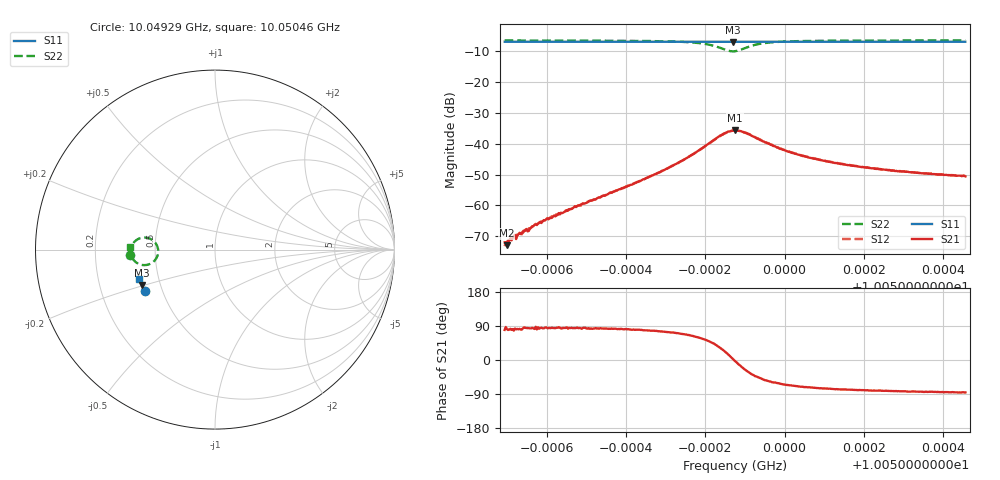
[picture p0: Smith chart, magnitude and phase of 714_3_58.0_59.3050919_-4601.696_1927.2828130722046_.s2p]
#  HZ  S  RI  R  50.00
! Rohde & Schwarz Vector Network Analyzer
! Rohde-Schwarz,ZNB20-2Port,1311601062101988,3.16
! Created: UTC 3/21/2024, 1:22:18 AM
! freq[Hz]  re:S11  im:S11  re:S21  im:S21  re:S12  im:S12  re:S22  im:S22
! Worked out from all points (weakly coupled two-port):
!   401 points, 10.04929 GHz to 10.05046 GHz, reference 50 ohm
!   highest |S21| = -35.66 dB at 10.04987 GHz (marker M1); lowest = -72.9 dB at 10.0493 GHz (marker M2)
!   lowest |S11| = -6.9 dB at 10.04987 GHz (marker M3), VSWR 2.65, Z = 19.7 - j9.76 ohm
!   |S11| at or under -10 dB: nowhere
!   |S22| runs from -10.0 to -6.5 dB; largest |S21 - S12| = 0.0015
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1.0049294e10  -0.391 -0.2311  4.62e-05 0.000247  4.21e-05 0.000214  -0.4739 -0.0287
1.00493e10  -0.3913 -0.2308  3.29e-05 0.000223  3.06e-05 0.000245  -0.4739 -0.0281
1.0049315e10  -0.3916 -0.23  4.4e-05 0.000295  5.09e-05 0.000285  -0.4739 -0.0268
1.0049329e10  -0.3921 -0.2291  5.47e-05 0.000337  1.71e-05 0.000345  -0.4739 -0.0255
1.0049344e10  -0.3928 -0.2281  2.61e-05 0.000389  1.9e-05 0.000379  -0.4738 -0.024
1.0049358e10  -0.3931 -0.2273  4.71e-05 0.000418  -7.5e-06 0.00042  -0.4737 -0.0226
1.0049378e10  -0.3937 -0.2261  3.25e-05 0.000507  2.46e-05 0.000506  -0.4735 -0.0206
1.0049489e10  -0.3971 -0.2196  0.000137 0.00104  3.2e-05 0.00104  -0.4725 -0.00833
1.0049614e10  -0.4008 -0.2122  0.000377 0.00213  0.00022 0.00217  -0.4685 0.0102
1.0049683e10  -0.4027 -0.2079  0.000826 0.00331  0.000643 0.00336  -0.4622 0.0253
1.004975e10  -0.4047 -0.2037  0.00221 0.00529  0.00187 0.00539  -0.4461 0.0465
1.004982e10  -0.4059 -0.1992  0.00811 0.00782  0.00749 0.00827  -0.3861 0.0672
1.0049852e10  -0.4063 -0.1974  0.0142 0.00521  0.0136 0.00612  -0.3317 0.0369
1.0049869e10  -0.4062 -0.1968  0.0165 0.000866  0.0161 0.00219  -0.3162 -0.0055
1.0049875e10  -0.4066 -0.1966  0.0165 -0.000775  0.0163 0.000672  -0.3172 -0.0212
1.0049907e10  -0.4076 -0.1957  0.0124 -0.00738  0.0131 -0.00649  -0.3628 -0.0801
1.004995e10  -0.4095 -0.1932  0.00631 -0.00847  0.00706 -0.00802  -0.424 -0.0802
1.0050011e10  -0.4114 -0.1894  0.00294 -0.00679  0.00342 -0.00665  -0.456 -0.0551
1.005007e10  -0.4129 -0.1859  0.00175 -0.00558  0.0021 -0.00552  -0.466 -0.0377
1.0050162e10  -0.4154 -0.1802  0.000914 -0.0044  0.00116 -0.0044  -0.4721 -0.0188
1.0050264e10  -0.4179 -0.1739  0.00054 -0.00369  0.000789 -0.00368  -0.4741 -0.00463
1.0050456e10  -0.4223 -0.162  0.000231 -0.00295  0.000379 -0.00298  -0.475 0.0152
